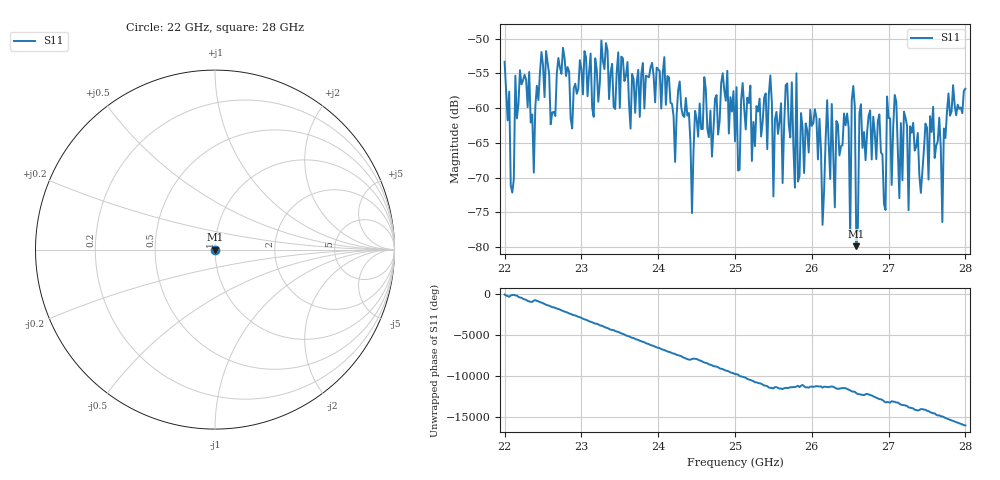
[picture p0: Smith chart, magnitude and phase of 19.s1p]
#  HZ  S  RI  R  50.00
! Rohde & Schwarz ZVA40 4Ports - Version 3.90 - 1145.1110k42 SN: 100403
! Date: 2023-10-04 08:11:41
! Measurement: S12
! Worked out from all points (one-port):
!   301 points, 22 GHz to 28 GHz, reference 50 ohm
!   lowest |S11| = -79.9 dB at 26.58 GHz (marker M1), VSWR 1.00, Z = 50 - j0.00128 ohm
!   |S11| at or under -10 dB: start of sweep to end of sweep
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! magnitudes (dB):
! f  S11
! 22 GHz  -53.3
! 22.1 GHz  -72.2
! 22.14 GHz  -55.3
! 22.38 GHz  -69.3
! 22.48 GHz  -51.9
! 22.76 GHz  -51.3
! 23.5 GHz  -60.0
! 24.26 GHz  -57.4
! 24.44 GHz  -75.1
! 24.6 GHz  -55.6
! 25 GHz  -64.8
! 25.76 GHz  -65.4
! 26.1 GHz  -61.5
! 26.14 GHz  -76.8
! 26.2 GHz  -58.9
! 26.3 GHz  -74.3
! 26.46 GHz  -60.8
! 26.5 GHz  -78.6
! 26.54 GHz  -56.8
! 26.58 GHz  -79.9
! 26.64 GHz  -59.4
! 26.96 GHz  -74.7
! 26.98 GHz  -58.3
! 27.14 GHz  -72.9
! 27.2 GHz  -60.5
! 27.26 GHz  -74.7
! 27.7 GHz  -76.4
! 28 GHz  -57.2
